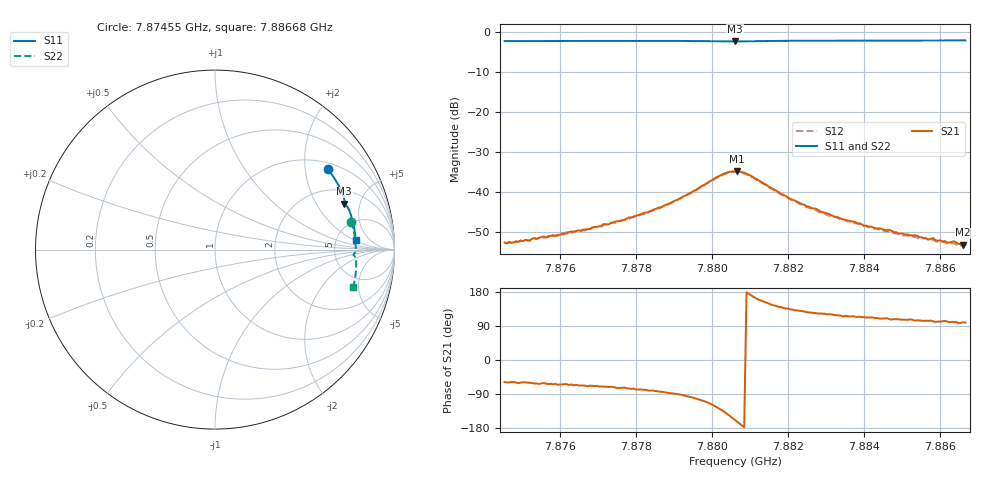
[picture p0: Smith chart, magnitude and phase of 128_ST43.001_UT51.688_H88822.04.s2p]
#  HZ  S  DB  R  50.00
! Rohde & Schwarz Vector Network Analyzer
! Rohde-Schwarz,ZNB20-2Port,1311601062101988,3.16
! Created: UTC 1/12/2023, 6:38:47 PM
! freq[Hz]  db:S11  ang:S11  db:S21  ang:S21  db:S12  ang:S12  db:S22  ang:S22
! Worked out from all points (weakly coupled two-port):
!   201 points, 7.87455 GHz to 7.88668 GHz, reference 50 ohm
!   highest |S21| = -34.71 dB at 7.88067 GHz (marker M1); lowest = -53.1 dB at 7.88662 GHz (marker M2)
!   lowest |S11| = -2.3 dB at 7.88061 GHz (marker M3), VSWR 7.46, Z = 145 + j178 ohm
!   |S11| at or under -10 dB: nowhere
!   |S22| runs from -2.3 to -2.0 dB; largest |S21 - S12| = 0.0012
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7.874546e9  -2.25 35.6  -52.55 -58.3  -52.71 -60.4  -2.22 11.5
7.875213e9  -2.24 33.8  -52.00 -60.3  -52.16 -62.9  -2.19 9.9
7.875273e9  -2.23 33.6  -51.63 -60.8  -51.44 -63.2  -2.18 9.8
7.876608e9  -2.21 30.0  -49.34 -67.4  -49.60 -70.9  -2.15 6.7
7.877275e9  -2.20 28.2  -48.07 -71.3  -47.89 -74.9  -2.13 5.1
7.878609e9  -2.20 24.4  -43.83 -83.5  -44.10 -86.5  -2.10 1.9
7.879095e9  -2.21 23.1  -41.89 -89.8  -41.95 -94.4  -2.12 0.7
7.880308e9  -2.31 19.9  -35.40 -135.1  -35.63 -138.6  -2.23 -1.9
7.880611e9  -2.34 19.6  -34.74 -158.4  -34.91 -161.8  -2.26 -2.2
7.880672e9  -2.34 19.5  -34.71 -163.3  -34.91 -166.6  -2.25 -2.2
7.880975e9  -2.30 19.2  -35.68 174.6  -35.80 170.9  -2.21 -2.4
7.882067e9  -2.17 16.3  -41.66 133.7  -41.86 130.8  -2.06 -4.7
7.882673e9  -2.14 14.6  -44.06 124.8  -44.32 121.4  -2.03 -6.1
7.884008e9  -2.12 11.1  -48.36 113.4  -48.44 108.6  -2.00 -9.2
7.884675e9  -2.11 9.3  -49.38 107.3  -49.87 105.2  -1.98 -10.6
7.884917e9  -2.11 8.7  -50.32 107.7  -50.37 104.5  -1.98 -11.2
7.885827e9  -2.09 6.3  -51.46 102.0  -51.93 99.6  -1.96 -13.2
7.886191e9  -2.09 5.3  -52.56 101.7  -52.83 98.1  -1.97 -14.0
7.886373e9  -2.09 4.8  -52.26 100.2  -52.80 99.6  -1.96 -14.3
7.886494e9  -2.09 4.5  -52.92 97.6  -53.48 98.0  -1.97 -14.6
7.886616e9  -2.09 4.2  -53.08 99.3  -53.17 94.9  -1.96 -14.9
7.886676e9  -2.09 4.0  -53.06 98.7  -53.21 96.5  -1.96 -15.0
